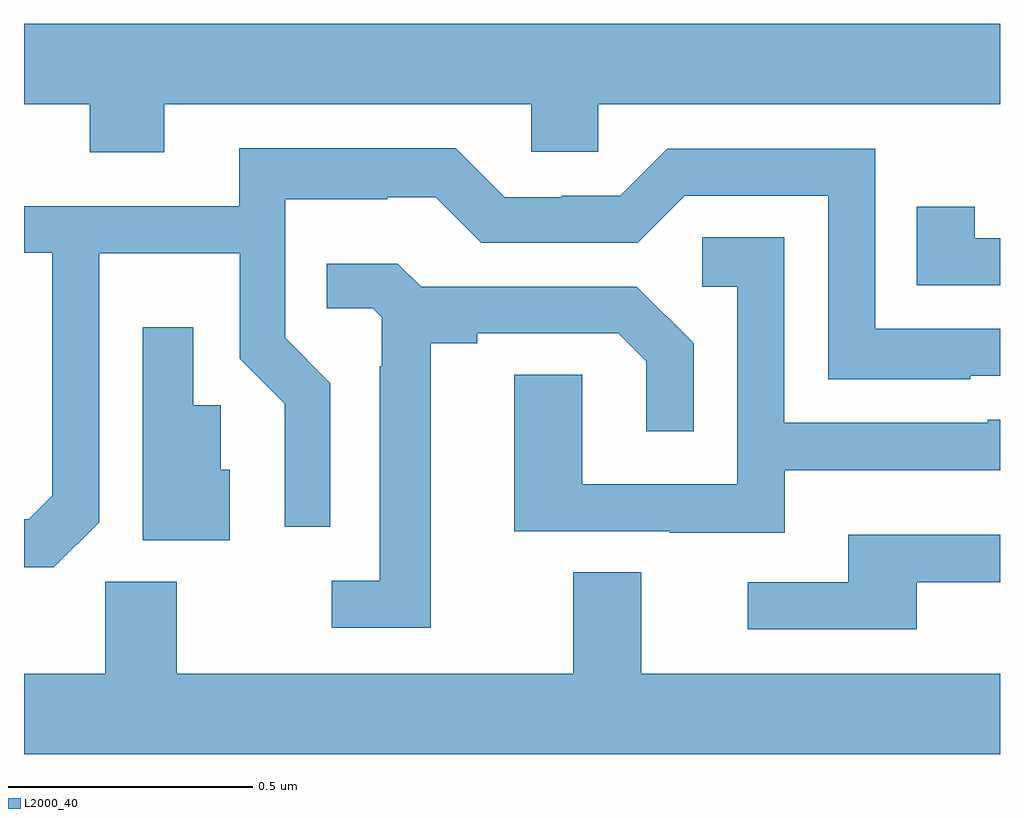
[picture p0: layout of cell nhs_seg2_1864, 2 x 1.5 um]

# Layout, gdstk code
import gdstk
lib = gdstk.Library(unit=1e-6, precision=1e-09)
def P(c, l, *ps):  # polygons
    for p in ps: c.add(gdstk.Polygon(p, *l))
L2000_40 = (2000, 40)

nhs_seg2_1864 = lib.new_cell('nhs_seg2_1864')
P(nhs_seg2_1864, L2000_40, [(134.287,594.356),(135.039,594.356),(135.039,594.258),(135.177,594.258),(135.177,594.356),(136,594.356),(136,594.52),(134,594.52),(134,594.356),(134.135,594.356),(134.135,594.257),(134.287,594.257)],
  [(134.154,593.499),(134.154,594.05),(134.442,594.05),(134.442,593.834),(134.534,593.742),(134.534,593.49),(134.628,593.49),(134.628,593.784),(134.535,593.877),(134.535,594.161),(134.744,594.161),(134.744,594.165),(134.844,594.165),(134.937,594.072),(135.258,594.072),(135.354,594.168),(135.648,594.168),(135.648,593.792),(135.939,593.792),(135.939,593.799),(136,593.799),(136,593.895),(135.744,593.895),(135.744,594.264),(135.318,594.264),(135.222,594.168),(135.102,594.168),(135.102,594.165),(134.985,594.165),(134.885,594.265),(134.441,594.265),(134.441,594.147),(134,594.147),(134,594.051),(134.058,594.051),(134.058,593.553),(134.01,593.505),(134,593.505),(134,593.407),(134.061,593.407)],
  [(136,594.081),(135.948,594.081),(135.948,594.145),(135.829,594.145),(135.829,593.985),(136,593.985)],
  [(135.559,593.606),(136,593.606),(136,593.709),(135.975,593.709),(135.975,593.703),(135.558,593.703),(135.558,594.083),(135.39,594.083),(135.39,593.982),(135.462,593.982),(135.462,593.577),(135.144,593.577),(135.144,593.801),(135.005,593.801),(135.005,593.481),(135.323,593.481),(135.323,593.477),(135.559,593.477)],
  [(134.833,593.866),(134.929,593.866),(134.929,593.886),(135.218,593.886),(135.275,593.829),(135.275,593.685),(135.372,593.685),(135.372,593.866),(135.256,593.982),(134.814,593.982),(134.766,594.029),(134.62,594.029),(134.62,593.937),(134.715,593.937),(134.733,593.919),(134.733,593.819),(134.729,593.819),(134.729,593.379),(134.631,593.379),(134.631,593.283),(134.833,593.283)],
  [(134.422,593.607),(134.403,593.607),(134.403,593.739),(134.347,593.739),(134.347,593.899),(134.243,593.899),(134.243,593.462),(134.422,593.462)],
  [(135.829,593.376),(136,593.376),(136,593.473),(135.689,593.473),(135.689,593.376),(135.483,593.376),(135.483,593.28),(135.829,593.28)],
  [(136,593.188),(135.265,593.188),(135.265,593.396),(135.125,593.396),(135.125,593.188),(134.313,593.188),(134.313,593.377),(134.166,593.377),(134.166,593.188),(134,593.188),(134,593.024),(136,593.024)])

lib.write_gds('nhs_seg2_1864.gds')
